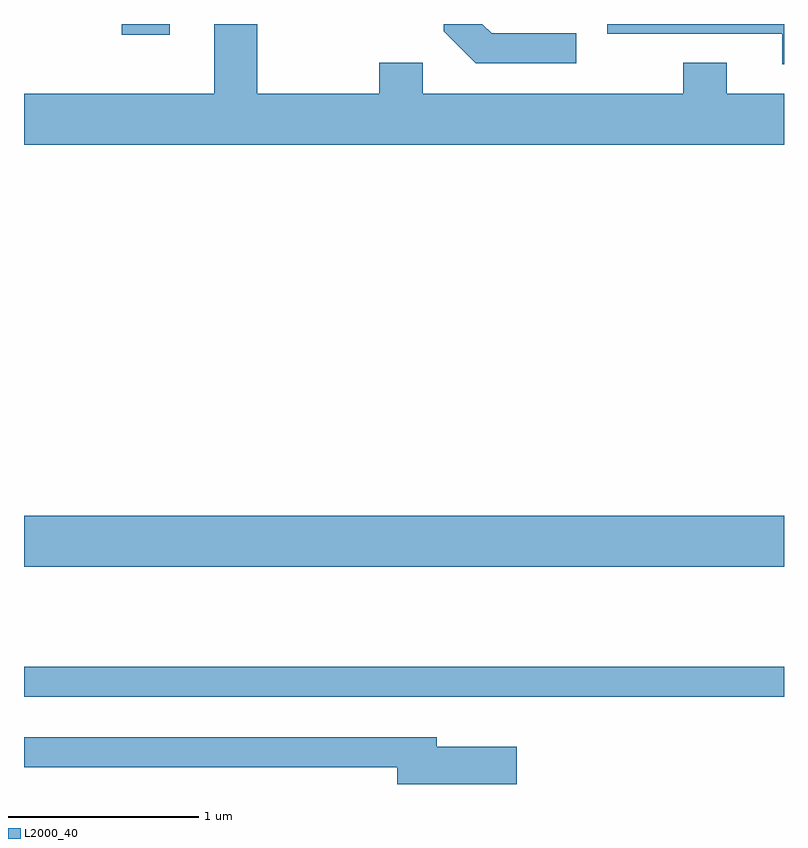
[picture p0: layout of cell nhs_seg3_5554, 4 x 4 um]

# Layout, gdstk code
import gdstk
lib = gdstk.Library(unit=1e-6, precision=1e-09)
def R(c, l, rs):  # rectangles x0, y0, x1, y1
    for r in rs: c.add(gdstk.rectangle(r[:2], r[2:], *l))
def P(c, l, *ps):  # polygons
    for p in ps: c.add(gdstk.Polygon(p, *l))
L2000_40 = (2000, 40)

nhs_seg3_5554 = lib.new_cell('nhs_seg3_5554')
R(nhs_seg3_5554, L2000_40, [(347.611,1216.351,351.611,1216.509), (347.611,1217.036,351.611,1217.304), (348.126,1219.836,348.379,1219.892)])
P(nhs_seg3_5554, L2000_40, [(351.611,1219.524),(351.309,1219.524),(351.309,1219.689),(351.081,1219.689),(351.081,1219.524),(349.709,1219.524),(349.709,1219.689),(349.481,1219.689),(349.481,1219.524),(348.839,1219.524),(348.839,1219.892),(348.611,1219.892),(348.611,1219.524),(347.611,1219.524),(347.611,1219.256),(351.611,1219.256)],
  [(351.611,1219.892),(350.681,1219.892),(350.681,1219.841),(351.601,1219.841),(351.601,1219.681),(351.611,1219.681)],
  [(350.518,1219.844),(350.072,1219.844),(350.024,1219.892),(349.821,1219.892),(349.821,1219.854),(349.989,1219.686),(350.518,1219.686)],
  [(350.204,1216.089),(349.784,1216.089),(349.784,1216.139),(347.611,1216.139),(347.611,1215.981),(349.576,1215.981),(349.576,1215.892),(350.204,1215.892)])

lib.write_gds('nhs_seg3_5554.gds')
